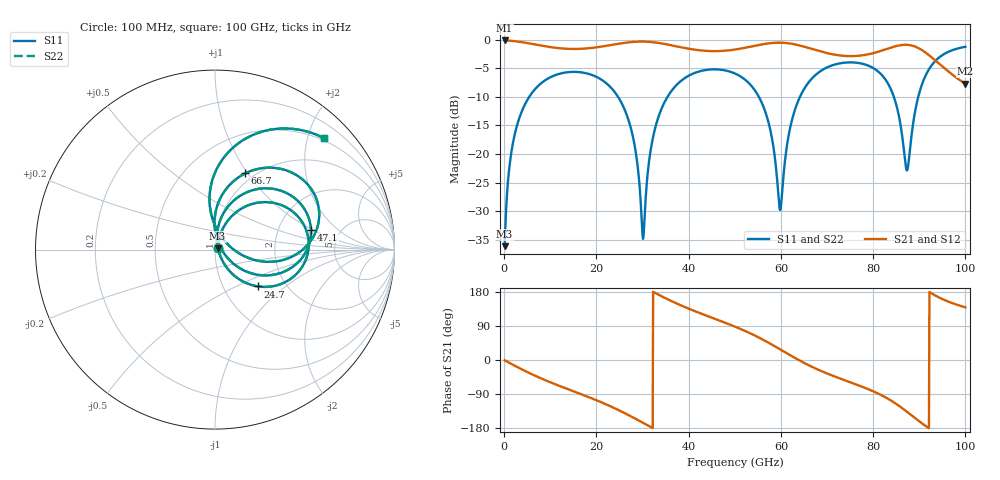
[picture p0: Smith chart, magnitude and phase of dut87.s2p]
! Touchstone file exported from HFSS 2026.1.0
!  File:  C:/ffzhzh/LocalFiles/Ansys_Project_Files/temp_train_TSV_RDL_87_1783630399_29156.aedt
!  Generated:  04:59:12 AM Jul 10, 2026
!  Design:  TSV_RDL
!  Project:  temp_train_TSV_RDL_87_1783630399_29156
! Variables:
!  h_bsmrdl = 4.18um
!  h_ox = 20um
!  h_rdl = 5um
!  h_sub = 54.66um
!  h_tmrdl = 2.43um
!  h_tsv = 54.66um
!  h_via = 3um
!  l_bsmrdl = 185.52um
!  l_sub = 1829.39um
!  l_tmrdl = 194.32um
!  m_sub = 200um
!  pitch = 48.37um
!  r_tsv = 12.03um
!  s_tmrdl = 10um
!  w_bsmrdl = 21.08um
!  w_sub = 500um
!  w_tmrdl = 10.77um
!  x_tsv_center1 = 199.705um
!  x_tsv_center2 = 406.305um
!  x_tsv_center3 = 611.395um
!  x_tsv_center4 = 817.995um
!  x_tsv_center5 = 1023.085um
!  x_tsv_center6 = 1229.685um
# GHz S MA R 50.000000
! Terminal data exported
! Port[1] = TM_RDL1_1_T1
! Port[2] = TM_RDL5_1_T1
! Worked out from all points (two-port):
!   1000 points, 100 MHz to 100 GHz, reference 50 ohm
!   highest |S21| = -0.12 dB at 100 MHz (marker M1); lowest = -7.7 dB at 100 GHz (marker M2)
!   |S21| within 3 dB of the highest: start of sweep to 92.76 GHz
!   lowest |S11| = -36.1 dB at 100 MHz (marker M3), VSWR 1.03, Z = 51.4 + j0.704 ohm
!   |S11| at or under -10 dB: start of sweep to 5.432 GHz; 24.7 GHz to 35.41 GHz (10.71 GHz wide, 35.6 % of centre); 55.23 GHz to 64.13 GHz (8.895 GHz wide, 14.9 % of centre) (the widest 3 of 4)
!   |S22| runs from -36.1 to -1.2 dB; largest |S21 - S12| = 1.8e-14
!   S11 on the Smith chart (normalised r, x): 100 MHz: 1.03, +0.01; 24.7 GHz: 1.45, -0.66; 47.1 GHz: 3.07, +0.97; 66.7 GHz: 0.91, +0.97; 100 GHz: 0.46, +2.30
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0.1  0.01564 26.0  0.986 -0.7  0.986 -0.7  0.01564 26.0
! Gamma 0 0 0 0
! Port Impedance 50 0 50 0
1.6  0.106 70.3  0.9777 -10.6  0.9777 -10.6  0.106 70.3
4.4  0.2663 57.8  0.9449 -28.1  0.9449 -28.1  0.2663 57.8
16.8  0.518 -1.9  0.8342 -90.7  0.8342 -90.7  0.518 -1.9
24.7  0.3163 -40.4  0.9212 -131.5  0.9212 -131.5  0.3163 -40.5
28  0.1368 -56.2  0.9579 -152.0  0.9579 -152.0  0.1367 -56.3
30.1  0.01813 9.1  0.964 -165.7  0.964 -165.7  0.01771 9.0
31.7  0.1043 82.5  0.9568 -176.2  0.9568 -176.2  0.1042 82.8
33.4  0.208 76.8  0.9389 172.8  0.9389 172.8  0.208 77.0
39.3  0.4659 46.7  0.8446 139.1  0.8446 139.1  0.466 46.8
47.1  0.5463 11.7  0.7981 102.2  0.7981 102.2  0.5463 11.8
50.1  0.5055 -1.8  0.8216 87.8  0.8216 87.8  0.5056 -1.6
56.5  0.2421 -33.2  0.9196 51.1  0.9196 51.1  0.2422 -33.0
59.8  0.03242 21.4  0.9432 28.3  0.9432 28.3  0.03337 21.5
62.5  0.2057 89.4  0.9199 9.1  0.9199 9.1  0.2057 89.2
66.7  0.4572 68.3  0.8314 -17.8  0.8314 -17.8  0.4571 68.3
76.4  0.6296 25.1  0.7218 -64.9  0.7218 -64.9  0.6296 25.1
83.4  0.4015 -7.5  0.8423 -103.6  0.8423 -103.6  0.4015 -7.3
87.4  0.07233 47.1  0.9029 -137.3  0.9029 -137.3  0.07325 47.0
89.4  0.2721 96.5  0.8614 -156.4  0.8614 -156.4  0.2724 96.3
91.5  0.4983 85.7  0.7655 -175.1  0.7655 -175.1  0.4984 85.6
100  0.8682 45.7  0.4116 139.0  0.4116 139.0  0.8682 45.7
